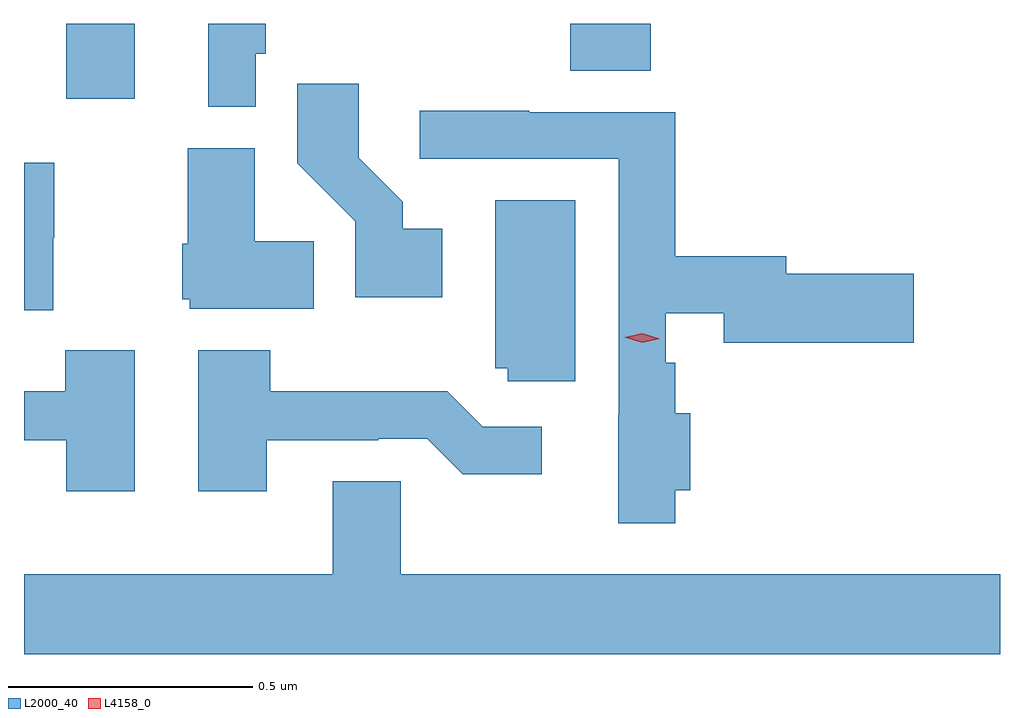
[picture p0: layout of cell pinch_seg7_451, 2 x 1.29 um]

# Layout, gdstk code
import gdstk
lib = gdstk.Library(unit=1e-6, precision=1e-09)
def R(c, l, rs):  # rectangles x0, y0, x1, y1
    for r in rs: c.add(gdstk.rectangle(r[:2], r[2:], *l))
def P(c, l, *ps):  # polygons
    for p in ps: c.add(gdstk.Polygon(p, *l))
L2000_40 = (2000, 40)
L4158_0 = (4158, 0)

pinch_seg7_451 = lib.new_cell('pinch_seg7_451')
R(pinch_seg7_451, L2000_40, [(249.467,1045.71,249.607,1045.864), (250.499,1045.768,250.664,1045.864)])
P(pinch_seg7_451, L2000_40, [(249.855,1045.803),(249.875,1045.803),(249.875,1045.864),(249.758,1045.864),(249.758,1045.694),(249.855,1045.694)],
  [(250.237,1045.444),(250.156,1045.444),(250.156,1045.499),(250.066,1045.589),(250.066,1045.741),(249.94,1045.741),(249.94,1045.578),(250.059,1045.459),(250.059,1045.304),(250.237,1045.304)],
  [(250.715,1044.908),(250.745,1044.908),(250.745,1045.066),(250.715,1045.066),(250.715,1045.169),(250.695,1045.169),(250.695,1045.271),(250.814,1045.271),(250.814,1045.21),(251.203,1045.21),(251.203,1045.352),(250.942,1045.352),(250.942,1045.388),(250.715,1045.388),(250.715,1045.683),(250.415,1045.683),(250.415,1045.686),(250.191,1045.686),(250.191,1045.587),(250.599,1045.587),(250.599,1045.062),(250.598,1045.062),(250.598,1044.84),(250.715,1044.84)],
  [(249.974,1045.418),(249.853,1045.418),(249.853,1045.609),(249.716,1045.609),(249.716,1045.413),(249.704,1045.413),(249.704,1045.299),(249.72,1045.299),(249.72,1045.28),(249.974,1045.28)],
  [(249.44,1045.425),(249.442,1045.425),(249.442,1045.579),(249.38,1045.579),(249.38,1045.277),(249.44,1045.277)],
  [(250.51,1045.502),(250.346,1045.502),(250.346,1045.158),(250.371,1045.158),(250.371,1045.131),(250.51,1045.131)],
  [(249.877,1045.011),(250.106,1045.011),(250.106,1045.014),(250.206,1045.014),(250.279,1044.941),(250.441,1044.941),(250.441,1045.038),(250.32,1045.038),(250.247,1045.111),(249.885,1045.111),(249.885,1045.195),(249.737,1045.195),(249.737,1044.906),(249.877,1044.906)],
  [(249.607,1045.195),(249.465,1045.195),(249.465,1045.111),(249.38,1045.111),(249.38,1045.011),(249.467,1045.011),(249.467,1044.906),(249.607,1044.906)],
  [(251.38,1044.736),(250.152,1044.736),(250.152,1044.926),(250.013,1044.926),(250.013,1044.736),(249.38,1044.736),(249.38,1044.572),(251.38,1044.572)])
P(pinch_seg7_451, L4158_0, [(250.647,1045.21),(250.611,1045.222),(250.611,1045.222),(250.611,1045.222),(250.647,1045.23),(250.683,1045.219),(250.683,1045.219),(250.683,1045.219)])

lib.write_gds('pinch_seg7_451.gds')
